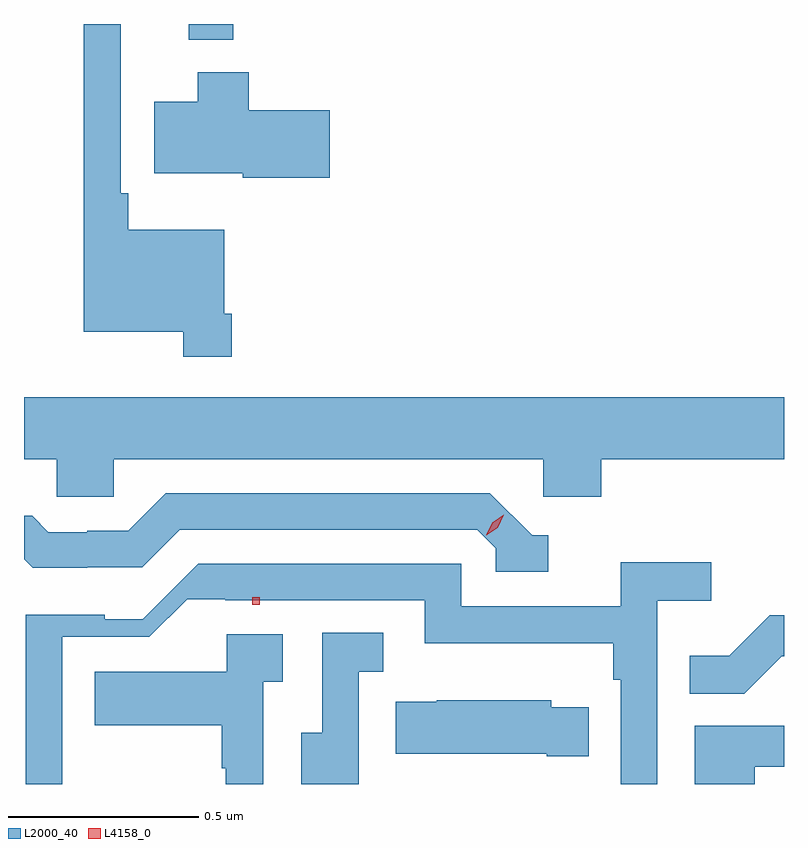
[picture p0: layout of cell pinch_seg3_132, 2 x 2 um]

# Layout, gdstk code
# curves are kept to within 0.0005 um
import gdstk
lib = gdstk.Library(unit=1e-6, precision=1e-09)
def R(c, l, rs):  # rectangles x0, y0, x1, y1
    for r in rs: c.add(gdstk.rectangle(r[:2], r[2:], *l))
def P(c, l, *ps):  # polygons
    for p in ps: c.add(gdstk.Polygon(p, *l))
L2000_40 = (2000, 40)
L4158_0 = (4158, 0)

pinch_seg3_132 = lib.new_cell('pinch_seg3_132')
R(pinch_seg3_132, L2000_40, [(1129.046,715.34,1129.163,715.382)])
P(pinch_seg3_132, L2000_40, [(1129.16,714.619),(1129.14,714.619),(1129.14,714.841),(1128.887,714.841),(1128.887,714.937),(1128.867,714.937),(1128.867,715.382),(1128.77,715.382),(1128.77,714.572),(1129.032,714.572),(1129.032,714.507),(1129.16,714.507)],
  [(1129.417,715.155),(1129.205,715.155),(1129.205,715.255),(1129.07,715.255),(1129.07,715.177),(1128.956,715.177),(1128.956,714.989),(1129.188,714.989),(1129.188,714.977),(1129.417,714.977)],
  [(1128.849,714.236),(1129.98,714.236),(1129.98,714.138),(1130.132,714.138),(1130.132,714.236),(1130.613,714.236),(1130.613,714.4),(1128.613,714.4),(1128.613,714.236),(1128.699,714.236),(1128.699,714.138),(1128.849,714.138)],
  [(1129.993,714.036),(1129.95,714.036),(1129.839,714.147),(1128.986,714.147),(1128.887,714.048),(1128.78,714.048),(1128.78,714.045),(1128.677,714.045),(1128.635,714.088),(1128.613,714.088),(1128.613,713.974),(1128.636,713.951),(1128.924,713.952),(1129.023,714.051),(1129.806,714.051),(1129.854,714.003),(1129.854,713.94),(1129.993,713.94)],
  [(1128.714,713.769),(1128.943,713.769),(1129.042,713.868),(1129.142,713.868),(1129.142,713.865),(1129.668,713.865),(1129.668,713.753),(1130.164,713.753),(1130.164,713.657),(1130.184,713.657),(1130.184,713.382),(1130.28,713.382),(1130.28,713.864),(1130.422,713.864),(1130.422,713.966),(1130.183,713.966),(1130.183,713.85),(1129.764,713.85),(1129.764,713.961),(1129.071,713.961),(1128.926,713.816),(1128.826,713.816),(1128.826,713.828),(1128.618,713.828),(1128.618,713.382),(1128.714,713.382)],
  [(1130.607,713.718),(1130.613,713.718),(1130.613,713.826),(1130.576,713.826),(1130.469,713.719),(1130.365,713.719),(1130.365,713.62),(1130.509,713.62)],
  [(1129.494,713.677),(1129.558,713.677),(1129.558,713.78),(1129.398,713.78),(1129.398,713.517),(1129.343,713.517),(1129.343,713.382),(1129.494,713.382)],
  [(1129.242,713.651),(1129.294,713.651),(1129.294,713.776),(1129.146,713.776),(1129.146,713.677),(1128.799,713.677),(1128.799,713.537),(1129.134,713.537),(1129.134,713.423),(1129.144,713.423),(1129.144,713.382),(1129.242,713.382)],
  [(1130.099,713.584),(1130.001,713.584),(1130.001,713.602),(1129.699,713.602),(1129.699,713.599),(1129.591,713.599),(1129.591,713.462),(1129.988,713.462),(1129.988,713.455),(1130.099,713.455)],
  [(1130.536,713.427),(1130.613,713.427),(1130.613,713.535),(1130.378,713.535),(1130.378,713.382),(1130.536,713.382)])
R(pinch_seg3_132, L4158_0, [(1129.214,713.854,1129.234,713.874)])
P(pinch_seg3_132, L4158_0, [(1129.83,714.037),(1129.83,714.037),(1129.845,714.07),(1129.876,714.09),(1129.876,714.09),(1129.876,714.09),(1129.86,714.057),(1129.83,714.037)])

lib.write_gds('pinch_seg3_132.gds')
